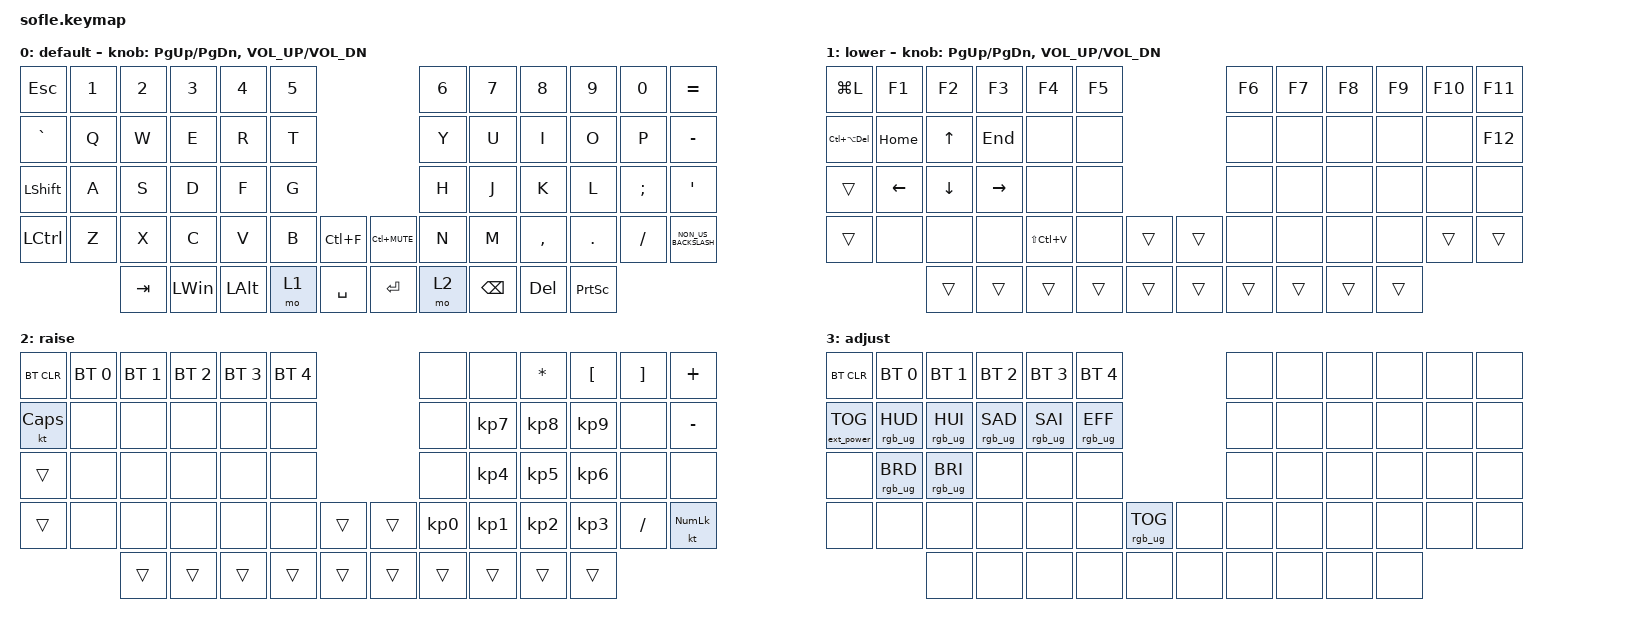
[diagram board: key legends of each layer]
/*
 * Copyright (c) 2020 The ZMK Contributors
 *
 * SPDX-License-Identifier: MIT
 */

#include <behaviors.dtsi>
#include <dt-bindings/zmk/bt.h>
#include <dt-bindings/zmk/ext_power.h>
#include <dt-bindings/zmk/keys.h>
#include <dt-bindings/zmk/rgb.h>

#define BASE 0
#define LOWER 1
#define RAISE 2
#define ADJUST 3

/ {
    // Activate ADJUST layer by pressing raise and lower

    conditional_layers {
        compatible = "zmk,conditional-layers";

        adjust_layer {
            if-layers = <1 2>;
            then-layer = <3>;
        };
    };

    keymap {
        compatible = "zmk,keymap";

        default_layer {
            label = "default";

            // ------------------------------------------------------------------------------------------------------------
            // |   `   |  1  |  2  |  3   |  4   |  5   |                   |  6   |  7    |  8    |  9   |   0   |       |
            // |  ESC  |  Q  |  W  |  E   |  R   |  T   |                   |  Y   |  U    |  I    |  O   |   P   | BKSPC |
            // |  TAB  |  A  |  S  |  D   |  F   |  G   |                   |  H   |  J    |  K    |  L   |   ;   |   '   |
            // | SHIFT |  Z  |  X  |  C   |  V   |  B   |  MUTE  |  |       |  N   |  M    |  ,    |  .   |   /   | SHIFT |
            //               | GUI | ALT  | CTRL | LOWER|  ENTER |  | SPACE | RAISE| CTRL  | ALT   | GUI  |

            bindings = <
&kp ESCAPE  &kp N1  &kp N2   &kp N3        &kp N4        &kp N5                               &kp N6  &kp N7         &kp N8      &kp N9           &kp N0    &kp EQUAL
&kp GRAVE   &kp Q   &kp W    &kp E         &kp R         &kp T                                &kp Y   &kp U          &kp I       &kp O            &kp P     &kp MINUS
&kp LSHIFT  &kp A   &kp S    &kp D         &kp F         &kp G                                &kp H   &kp J          &kp K       &kp L            &kp SEMI  &kp SQT
&kp LCTRL   &kp Z   &kp X    &kp C         &kp V         &kp B   &kp LC(F)    &kp LC(C_MUTE)  &kp N   &kp M          &kp COMMA   &kp DOT          &kp FSLH  &kp NON_US_BACKSLASH
                    &kp TAB  &kp LEFT_WIN  &kp LEFT_ALT  &mo 1   &kp SPACE    &kp ENTER       &mo 2   &kp BACKSPACE  &kp DELETE  &kp PRINTSCREEN
            >;

            sensor-bindings =
                <&inc_dec_kp PG_UP PG_DN>,
                <&inc_dec_kp C_VOL_UP C_VOL_DN>;
        };

        lower_layer {
            label = "lower";

            // TODO: Some binds are waiting for shifted keycode support.
            // ------------------------------------------------------------------------------------------------------------
            // |       |  F1 |  F2 |  F3  |  F4  |  F5  |                   |  F6  |  F7   |  F8   |  F9  |  F10  |  F11  |
            // |   `   |  1  |  2  |  3   |  4   |  5   |                   |  6   |  7    |  8    |  9   |   0   |  F12  |
            // |       |  !  |  @  |  #   |  $   |  %   |                   |  ^   |  &    |  *    |  (   |   )   |   |   |
            // |       |  =  |  -  |  +   |  {   |  }   |        |  |       |  [   |  ]    |  ;    |  :   |   \   |       |
            //               |     |      |      |      |        |  |       |      |       |       |      |

            bindings = <
&kp LG(L)        &kp F1    &kp F2        &kp F3     &kp F4         &kp F5                    &kp F6  &kp F7  &kp F8  &kp F9  &kp F10  &kp F11
&kp LC(LA(DEL))  &kp HOME  &kp UP_ARROW  &kp END    &none          &none                     &none   &none   &none   &none   &none    &kp F12
&trans           &kp LEFT  &kp DOWN      &kp RIGHT  &none          &none                     &none   &none   &none   &none   &none    &none
&trans           &none     &none         &none      &kp LS(LC(V))  &none   &trans    &trans  &none   &none   &none   &none   &trans   &trans
                           &trans        &trans     &trans         &trans  &trans    &trans  &trans  &trans  &trans  &trans
            >;

            sensor-bindings =
                <&inc_dec_kp PG_UP PG_DN>,
                <&inc_dec_kp C_VOL_UP C_VOL_DN>;
        };

        raise_layer {
            label = "raise";

            // ------------------------------------------------------------------------------------------------------------
            // | BTCLR | BT1  | BT2  |  BT3  |  BT4  |  BT5 |                |      |      |       |      |       |       |
            // |       | INS  | PSCR | GUI   |       |      |                | PGUP |      |   ^   |      |       |       |
            // |       | ALT  | CTRL | SHIFT |       | CAPS |                | PGDN |   <- |   v   |  ->  |  DEL  | BKSPC |
            // |       | UNDO | CUT  | COPY  | PASTE |      |      |  |      |      |      |       |      |       |       |
            //                |      |       |       |      |      |  |      |      |      |       |      |

            bindings = <
&bt BT_CLR  &bt BT_SEL 0  &bt BT_SEL 1  &bt BT_SEL 2  &bt BT_SEL 3  &bt BT_SEL 4                    &none      &none      &kp ASTERISK  &kp LEFT_BRACKET  &kp RIGHT_BRACKET  &kp PLUS
&kt CLCK    &none         &none         &none         &none         &none                           &none      &kp KP_N7  &kp KP_N8     &kp KP_N9         &none              &kp MINUS
&trans      &none         &none         &none         &none         &none                           &none      &kp KP_N4  &kp KP_N5     &kp KP_N6         &none              &none
&trans      &none         &none         &none         &none         &none         &trans    &trans  &kp KP_N0  &kp KP_N1  &kp KP_N2     &kp KP_N3         &kp SLASH          &kt KP_NUMLOCK
                          &trans        &trans        &trans        &trans        &trans    &trans  &trans     &trans     &trans        &trans
            >;
        };

        adjust_layer {
            // ----------------------------------------------------------------------------------------------------------------------------
            // | BTCLR  |  BT1    |  BT2    |   BT3   |   BT4   |   BT5   |                  |      |      |       |      |       |       |
            // | EXTPWR | RGB_HUD | RGB_HUI | RGB_SAD | RGB_SAI | RGB_EFF |                  |      |      |       |      |       |       |
            // |        | RGB_BRD | RGB_BRI |         |         |         |                  |      |      |       |      |       |       |
            // |        |         |         |         |         |         | RGB_TOG | |      |      |      |       |      |       |       |
            //                    |         |         |         |         |         | |      |      |      |       |      |

            label = "adjust";
            bindings = <
&bt BT_CLR         &bt BT_SEL 0     &bt BT_SEL 1     &bt BT_SEL 2     &bt BT_SEL 3     &bt BT_SEL 4                               &none  &none  &none  &none  &none  &none
&ext_power EP_TOG  &rgb_ug RGB_HUD  &rgb_ug RGB_HUI  &rgb_ug RGB_SAD  &rgb_ug RGB_SAI  &rgb_ug RGB_EFF                            &none  &none  &none  &none  &none  &none
&none              &rgb_ug RGB_BRD  &rgb_ug RGB_BRI  &none            &none            &none                                      &none  &none  &none  &none  &none  &none
&none              &none            &none            &none            &none            &none            &rgb_ug RGB_TOG    &none  &none  &none  &none  &none  &none  &none
                                    &none            &none            &none            &none            &none              &none  &none  &none  &none  &none
            >;
        };
    };
};
